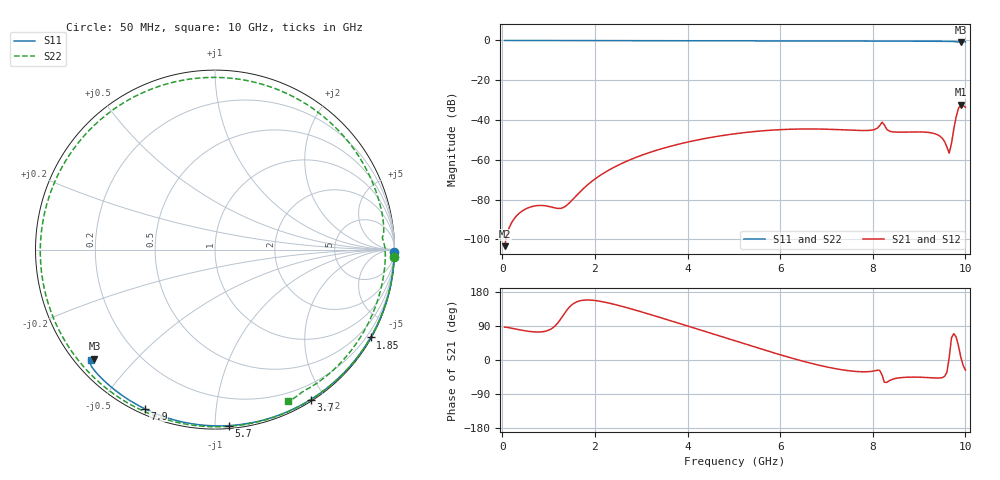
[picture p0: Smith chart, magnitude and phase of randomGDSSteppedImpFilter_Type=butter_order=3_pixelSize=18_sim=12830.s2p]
! freq	dB(S11)	phase(S11)	dB(S12)	phase(S12)
!  dB(S21)	phase(S21)	dB(S22)	phase(S22)
!S-par simulation data
#  GHz  S  DB  R 50
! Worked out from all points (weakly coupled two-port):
!   200 points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, 50 MHz to 10 GHz, reference 50 ohm
!   highest |S21| = -32.35 dB at 9.9 GHz (marker M1); lowest = -103.4 dB at 50 MHz (marker M2)
!   lowest |S11| = -0.9 dB at 9.9 GHz (marker M3), VSWR 20.17, Z = 2.85 - j19.2 ohm
!   |S11| at or under -10 dB: nowhere
!   |S22| runs from -0.6 to 0.0 dB; largest |S21 - S12| = 0
!   S11 on the Smith chart (normalised r, x): 50 MHz: open; 1.85 GHz: 0.03, -3.80; 3.7 GHz: 0.02, -1.82; 5.7 GHz: 0.02, -1.08; 7.9 GHz: 0.02, -0.65; 10 GHz: 0.04, -0.38
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0.05  -0.00 -0.8  -103.38 86.8  -103.38 86.8  -0.01 -2.2
0.7  -0.01 -11.3  -83.17 74.1  -83.17 74.1  -0.04 -30.5
1.5  -0.03 -24.0  -80.39 145.5  -80.39 145.5  -0.08 -64.3
1.75  -0.04 -27.9  -74.44 157.8  -74.44 157.8  -0.09 -74.6
1.85  -0.04 -29.5  -72.38 158.4  -72.38 158.4  -0.10 -78.7
2.6  -0.05 -41.0  -61.59 141.0  -61.59 141.0  -0.13 -108.9
3.4  -0.07 -53.0  -54.69 112.5  -54.69 112.5  -0.18 -140.6
3.7  -0.08 -57.4  -52.76 101.2  -52.76 101.2  -0.19 -152.5
4.4  -0.10 -67.5  -49.18 74.4  -49.18 74.4  -0.24 179.2
5.05  -0.12 -76.6  -46.81 49.4  -46.81 49.4  -0.28 151.7
5.7  -0.14 -85.5  -45.27 24.8  -45.27 24.8  -0.32 122.5
6.7  -0.19 -98.7  -44.48 -9.7  -44.48 -9.7  -0.37 74.9
7.35  -0.23 -107.0  -44.90 -26.1  -44.90 -26.1  -0.39 43.4
7.9  -0.27 -113.9  -45.22 -30.9  -45.22 -30.9  -0.41 17.5
8.2  -0.30 -117.6  -41.07 -39.6  -41.07 -39.6  -0.58 4.0
8.35  -0.31 -119.5  -45.46 -55.2  -45.46 -55.2  -0.45 -1.9
9.35  -0.40 -132.0  -46.94 -47.5  -46.94 -47.5  -0.52 -42.0
9.5  -0.42 -134.0  -49.13 -46.4  -49.13 -46.4  -0.54 -47.4
9.65  -0.46 -136.2  -56.67 5.6  -56.67 5.6  -0.58 -52.7
9.8  -0.67 -138.7  -38.51 60.6  -38.51 60.6  -0.63 -57.6
9.9  -0.86 -137.9  -32.35 8.2  -32.35 8.2  -0.58 -60.6
10  -0.65 -138.4  -33.54 -26.6  -33.54 -26.6  -0.56 -64.2
